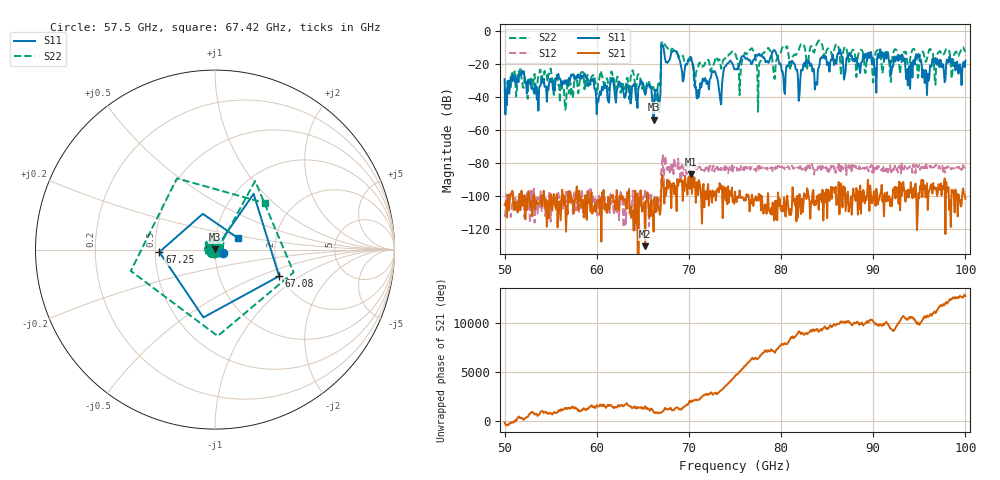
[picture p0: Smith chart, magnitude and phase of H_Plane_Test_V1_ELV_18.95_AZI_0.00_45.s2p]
! 11/27/2026 8:31:35 AM
! C:\ANRITSUVNA\TEMP\TEMP.S2P
! CHANNEL.1
! TR.MEASUREMENT
! RAW.DATA
# HZ S RI R 50.0
! FREQ.HZ  S11RE  S11IM  S21RE  S21IM  S12RE  S12IM  S22RE  S22IM
!; PortSelection: Port_12
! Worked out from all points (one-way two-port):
!   601 points, 50 GHz to 100 GHz, reference 50 ohm
!   highest |S21| = -86.91 dB at 70.25 GHz (marker M1); lowest = -130.5 dB at 65.25 GHz (marker M2)
!   lowest |S11| = -53.6 dB at 66.17 GHz (marker M3), VSWR 1.00, Z = 50.1 + j0.158 ohm
!   |S11| at or under -10 dB: start of sweep to 67 GHz; 67.24 GHz to end of sweep
!   |S22| runs from -48.9 to -5.6 dB; largest |S21 - S12| = 0.00018
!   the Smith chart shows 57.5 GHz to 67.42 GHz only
!   S11 on the Smith chart (normalised r, x): 57.5 GHz: 1.09, -0.05; 67.08 GHz: 1.95, -0.68; 67.25 GHz: 0.53, -0.02; 67.42 GHz: 1.29, +0.17
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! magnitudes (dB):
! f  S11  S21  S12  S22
! 50 GHz  -29.0  -105.4  -112.6  -35.4
! 57.5 GHz  -26.1  -110.6  -99.2  -34.5
! 58.42 GHz  -27.1  -104.0  -97.7  -24.8
! 60.17 GHz  -42.7  -103.7  -101.6  -30.1
! 65.25 GHz  -38.5  -130.5  -95.7  -37.5
! 66.17 GHz  -53.6  -121.7  -114.3  -34.0
! 66.67 GHz  -41.8  -106.8  -101.5  -31.6
! 67.08 GHz  -8.3  -87.2  -79.8  -6.8
! 67.25 GHz  -10.2  -92.8  -93.9  -6.3
! 67.42 GHz  -16.8  -94.9  -75.7  -8.4
! 70.25 GHz  -16.0  -86.9  -81.1  -18.7
! 70.92 GHz  -40.9  -91.5  -81.7  -23.1
! 75 GHz  -23.1  -97.4  -83.2  -13.0
! 77.58 GHz  -13.8  -98.7  -84.1  -21.7
! 78.5 GHz  -18.2  -106.8  -84.0  -10.8
! 79.33 GHz  -11.7  -103.0  -83.8  -28.8
! 80.25 GHz  -27.9  -108.5  -82.9  -9.4
! 83.42 GHz  -24.5  -97.9  -82.0  -10.8
! 91.67 GHz  -16.6  -100.4  -82.9  -15.2
! 94.83 GHz  -14.9  -110.2  -82.6  -28.3
! 95.83 GHz  -38.7  -92.4  -83.2  -16.4
! 100 GHz  -17.9  -101.7  -82.9  -12.5
